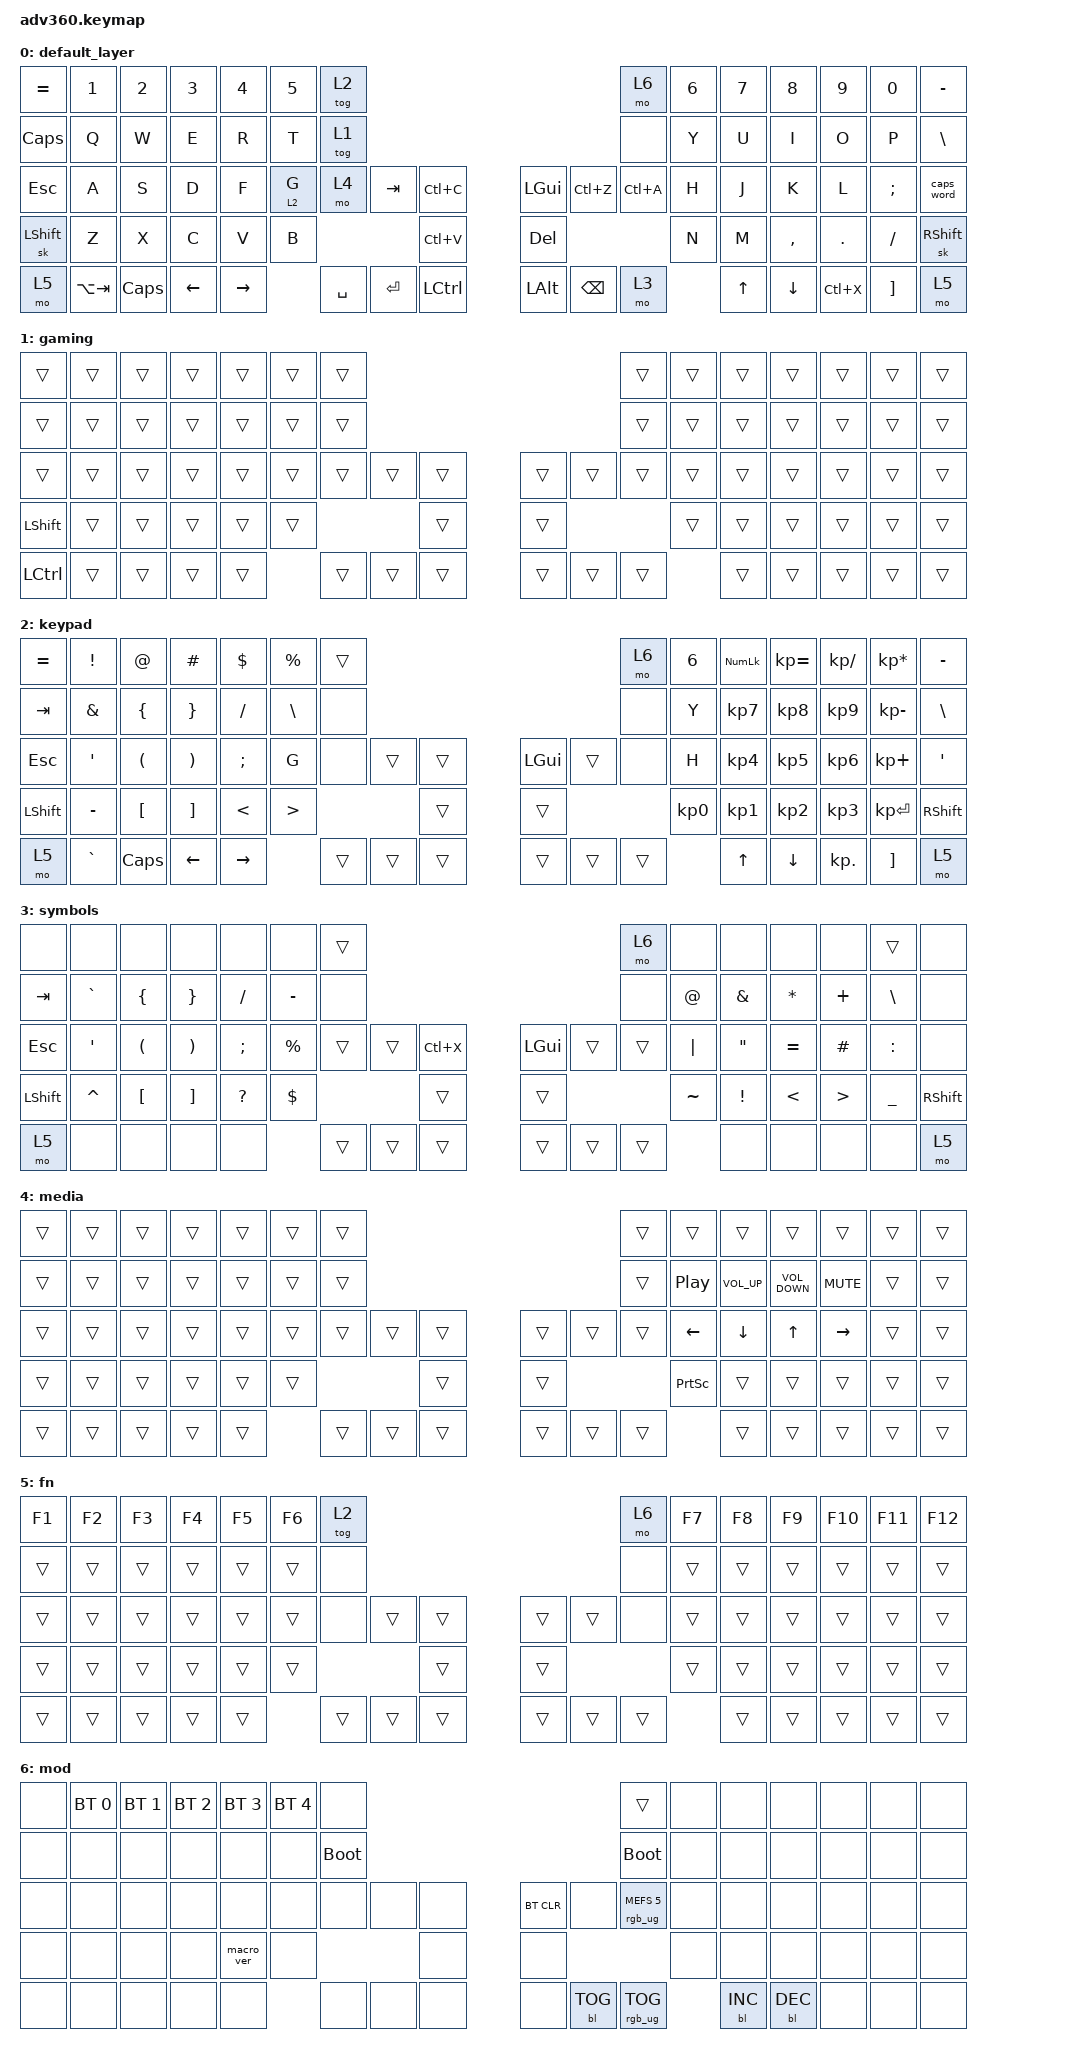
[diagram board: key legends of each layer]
#include <behaviors.dtsi>
#include <dt-bindings/zmk/backlight.h>
#include <dt-bindings/zmk/bt.h>
#include <dt-bindings/zmk/keys.h>
#include <dt-bindings/zmk/rgb.h>

/ {
    behaviors {
        #include "macros.dtsi"
      #include "version.dtsi"
      #ifndef VERSION_MACRO

        macro_ver: macro_ver {
            compatible = "zmk,behavior-macro";
            label = "macro_version";
            #binding-cells = <0>;
            bindings = <&kp RET>;
        };

        #endif

        hm: homerow_mods {
            compatible = "zmk,behavior-hold-tap";
            label = "HOMEROW_MODS";
            #binding-cells = <2>;
            tapping-term-ms = <200>;
            quick_tap_ms = <175>;
            flavor = "balanced";
            bindings = <&kp>, <&kp>;
        };

        hr_r: hr_r {
            compatible = "zmk,behavior-hold-tap";
            label = "HR_R";
            #binding-cells = <2>;
            tapping-term-ms = <200>;
            quick_tap_ms = <175>;
            flavor = "balanced";
            bindings = <&mo>, <&kp>;

            hold-trigger-key-positions = <0 0 1 2 3 4 5 6 14 15 16 17 18 19 20 28 29 30 31 32 33 34 35 36 46 47 48 49 50 51 52 60 61 62 63 64 65 66 67>;
        };

        hr_l: hr_l {
            compatible = "zmk,behavior-hold-tap";
            label = "HR_L";
            #binding-cells = <2>;
            tapping-term-ms = <200>;
            quick_tap_ms = <175>;
            flavor = "tap-preferred";
            bindings = <&mo>, <&kp>;

            hold-trigger-key-positions = <7 8 9 10 11 12 13 21 22 23 24 25 26 27 37 38 39 40 41 42 43 44 45 53 54 55 56 57 58 59 68 69 70 71 72 73 74 75>;
        };
    };

    macros {
    };

    combos { compatible = "zmk,combos"; };

    keymap {
        compatible = "zmk,keymap";

        default_layer {
            bindings = <
&kp EQUAL  &kp N1       &kp N2    &kp N3    &kp N4     &kp N5     &tog 2                                                                   &mo 6      &kp N6  &kp N7  &kp N8     &kp N9     &kp N0    &kp MINUS
&kp CLCK   &kp Q        &kp W     &kp E     &kp R      &kp T      &tog 1                                                                   &none      &kp Y   &kp U   &kp I      &kp O      &kp P     &kp BSLH
&kp ESC    &kp A        &kp S     &kp D     &kp F      &hr_l 2 G  &mo 4      &kp TAB    &kp LC(C)             &kp LGUI      &kp LC(Z)      &kp LC(A)  &kp H   &kp J   &kp K      &kp L      &kp SEMI  &caps_word
&sk LSHFT  &kp Z        &kp X     &kp C     &kp V      &kp B                            &kp LC(V)             &kp DEL                                 &kp N   &kp M   &kp COMMA  &kp DOT    &kp FSLH  &sk RSHFT
&mo 5      &kp LA(TAB)  &kp CAPS  &kp LEFT  &kp RIGHT             &kp SPACE  &kp ENTER  &kp LEFT_CONTROL      &kp LEFT_ALT  &kp BACKSPACE  &mo 3              &kp UP  &kp DOWN   &kp LC(X)  &kp RBKT  &mo 5
            >;
        };

        gaming {
            bindings = <
&trans            &trans  &trans  &trans  &trans  &trans  &trans                                      &trans  &trans  &trans  &trans  &trans  &trans  &trans
&trans            &trans  &trans  &trans  &trans  &trans  &trans                                      &trans  &trans  &trans  &trans  &trans  &trans  &trans
&trans            &trans  &trans  &trans  &trans  &trans  &trans  &trans  &trans      &trans  &trans  &trans  &trans  &trans  &trans  &trans  &trans  &trans
&kp LEFT_SHIFT    &trans  &trans  &trans  &trans  &trans                  &trans      &trans                  &trans  &trans  &trans  &trans  &trans  &trans
&kp LEFT_CONTROL  &trans  &trans  &trans  &trans          &trans  &trans  &trans      &trans  &trans  &trans          &trans  &trans  &trans  &trans  &trans
            >;
        };

        keypad {
            bindings = <
&kp EQUAL  &kp EXCLAMATION  &kp AT_SIGN           &kp POUND              &kp DOLLAR     &kp PERCENT       &trans                                        &mo 6   &kp N6     &kp KP_NUM  &kp KP_EQUAL  &kp KP_DIVIDE  &kp KP_MULTIPLY  &kp MINUS
&kp TAB    &kp AMPERSAND    &kp LEFT_BRACE        &kp RIGHT_BRACE        &kp SLASH      &kp BACKSLASH     &none                                         &none   &kp Y      &kp KP_N7   &kp KP_N8     &kp KP_N9      &kp KP_MINUS     &kp BSLH
&kp ESC    &kp SQT          &kp LEFT_PARENTHESIS  &kp RIGHT_PARENTHESIS  &kp SEMI       &kp G             &none   &trans  &trans      &kp LGUI  &trans  &none   &kp H      &kp KP_N4   &kp KP_N5     &kp KP_N6      &kp KP_PLUS      &kp SQT
&kp LSHFT  &kp MINUS        &kp LEFT_BRACKET      &kp RIGHT_BRACKET      &kp LESS_THAN  &kp GREATER_THAN                  &trans      &trans                    &kp KP_N0  &kp KP_N1   &kp KP_N2     &kp KP_N3      &kp KP_ENTER     &kp RSHFT
&mo 5      &kp GRAVE        &kp CAPS              &kp LEFT               &kp RIGHT                        &trans  &trans  &trans      &trans    &trans  &trans             &kp UP      &kp DOWN      &kp KP_DOT     &kp RBKT         &mo 5
            >;
        };

        symbols {
            bindings = <
&none      &none      &none                 &none                  &none          &none        &trans                                           &mo 6   &none        &none              &none          &none             &trans          &none
&kp TAB    &kp GRAVE  &kp LEFT_BRACE        &kp RIGHT_BRACE        &kp SLASH      &kp MINUS    &none                                            &none   &kp AT_SIGN  &kp AMPS           &kp ASTERISK   &kp PLUS          &kp BACKSLASH   &none
&kp ESC    &kp SQT    &kp LEFT_PARENTHESIS  &kp RIGHT_PARENTHESIS  &kp SEMICOLON  &kp PERCENT  &trans  &trans  &kp LC(X)      &kp LGUI  &trans  &trans  &kp PIPE     &kp DOUBLE_QUOTES  &kp EQUAL      &kp HASH          &kp COLON       &none
&kp LSHFT  &kp CARET  &kp LEFT_BRACKET      &kp RIGHT_BRACKET      &kp QUESTION   &kp DOLLAR                   &trans         &trans                    &kp TILDE    &kp EXCLAMATION    &kp LESS_THAN  &kp GREATER_THAN  &kp UNDERSCORE  &kp RSHFT
&mo 5      &none      &none                 &none                  &none                       &trans  &trans  &trans         &trans    &trans  &trans               &none              &none          &none             &none           &mo 5
            >;
        };

        media {
            bindings = <
&trans  &trans  &trans  &trans  &trans  &trans  &trans                                      &trans  &trans            &trans        &trans             &trans      &trans  &trans
&trans  &trans  &trans  &trans  &trans  &trans  &trans                                      &trans  &kp C_PLAY_PAUSE  &kp C_VOL_UP  &kp C_VOLUME_DOWN  &kp K_MUTE  &trans  &trans
&trans  &trans  &trans  &trans  &trans  &trans  &trans  &trans  &trans      &trans  &trans  &trans  &kp LEFT          &kp DOWN      &kp UP             &kp RIGHT   &trans  &trans
&trans  &trans  &trans  &trans  &trans  &trans                  &trans      &trans                  &kp PRINTSCREEN   &trans        &trans             &trans      &trans  &trans
&trans  &trans  &trans  &trans  &trans          &trans  &trans  &trans      &trans  &trans  &trans                    &trans        &trans             &trans      &trans  &trans
            >;
        };

        fn {
            bindings = <
&kp F1  &kp F2  &kp F3  &kp F4  &kp F5  &kp F6  &tog 2                                      &mo 6   &kp F7  &kp F8  &kp F9  &kp F10  &kp F11  &kp F12
&trans  &trans  &trans  &trans  &trans  &trans  &none                                       &none   &trans  &trans  &trans  &trans   &trans   &trans
&trans  &trans  &trans  &trans  &trans  &trans  &none   &trans  &trans      &trans  &trans  &none   &trans  &trans  &trans  &trans   &trans   &trans
&trans  &trans  &trans  &trans  &trans  &trans                  &trans      &trans                  &trans  &trans  &trans  &trans   &trans   &trans
&trans  &trans  &trans  &trans  &trans          &trans  &trans  &trans      &trans  &trans  &trans          &trans  &trans  &trans   &trans   &trans
            >;
        };

        mod {
            bindings = <
&none  &bt BT_SEL 0  &bt BT_SEL 1  &bt BT_SEL 2  &bt BT_SEL 3  &bt BT_SEL 4  &none                                                  &trans                  &none  &none       &none       &none  &none  &none
&none  &none         &none         &none         &none         &none         &bootloader                                            &bootloader             &none  &none       &none       &none  &none  &none
&none  &none         &none         &none         &none         &none         &none        &none  &none      &bt BT_CLR  &none       &rgb_ug RGB_MEFS_CMD 5  &none  &none       &none       &none  &none  &none
&none  &none         &none         &none         &macro_ver    &none                             &none      &none                                           &none  &none       &none       &none  &none  &none
&none  &none         &none         &none         &none                       &none        &none  &none      &none       &bl BL_TOG  &rgb_ug RGB_TOG                &bl BL_INC  &bl BL_DEC  &none  &none  &none
            >;
        };
    };
};
